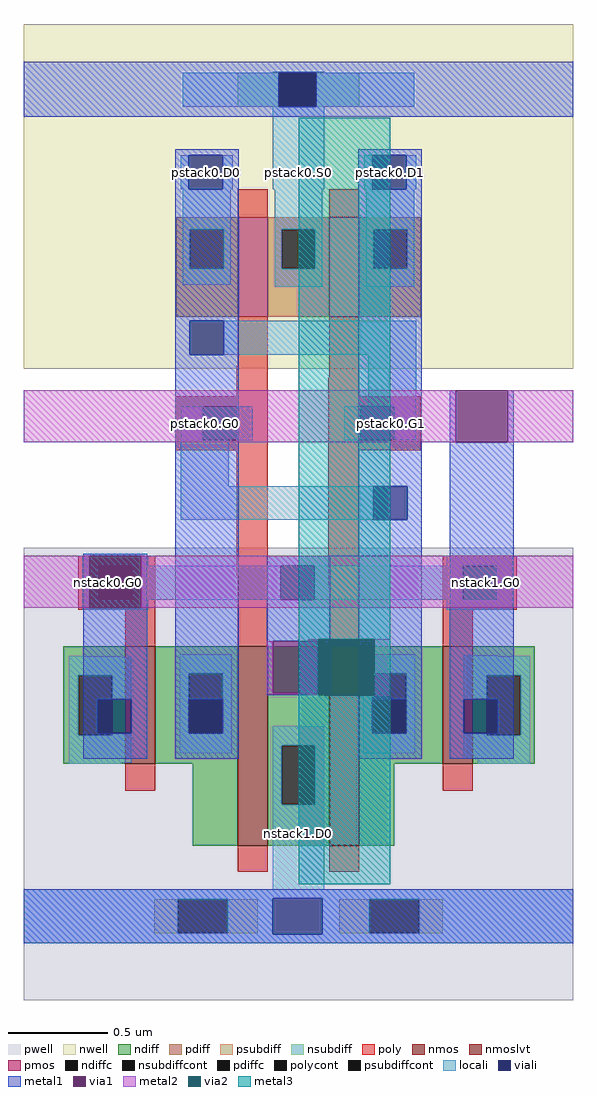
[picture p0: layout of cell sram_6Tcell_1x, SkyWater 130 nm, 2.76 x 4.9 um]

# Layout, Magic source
magic
tech sky130A
magscale 1 2
<< nwell >>
rect 0 550 552 896
<< pwell >>
rect 0 -84 552 370
<< nmos >>
rect 102 153 132 271
<< pmos >>
rect 215 602 245 702
rect 307 602 337 702
<< nmoslvt >>
rect 215 71 245 271
rect 307 71 337 271
rect 421 153 451 271
<< ndiff >>
rect 40 242 102 271
rect 40 182 55 242
rect 89 182 102 242
rect 40 153 102 182
rect 132 244 215 271
rect 132 184 166 244
rect 200 184 215 244
rect 132 153 215 184
rect 170 71 215 153
rect 245 172 307 271
rect 245 112 259 172
rect 293 112 307 172
rect 245 71 307 112
rect 337 244 421 271
rect 337 184 350 244
rect 384 184 421 244
rect 337 153 421 184
rect 451 242 513 271
rect 451 182 465 242
rect 499 182 513 242
rect 451 153 513 182
rect 337 71 372 153
<< pdiff >>
rect 153 690 215 702
rect 153 650 167 690
rect 201 650 215 690
rect 153 602 215 650
rect 245 690 307 702
rect 245 650 259 690
rect 293 650 307 690
rect 245 602 307 650
rect 337 690 399 702
rect 337 650 351 690
rect 385 650 399 690
rect 337 602 399 650
<< ndiffc >>
rect 55 182 89 242
rect 166 184 200 244
rect 259 112 293 172
rect 350 184 384 244
rect 465 182 499 242
<< pdiffc >>
rect 167 650 201 690
rect 259 650 293 690
rect 351 650 385 690
<< psubdiff >>
rect 131 -17 155 17
rect 205 -17 235 17
rect 317 -17 347 17
rect 397 -17 421 17
<< nsubdiff >>
rect 215 813 256 847
rect 294 813 337 847
<< psubdiffcont >>
rect 155 -17 205 17
rect 347 -17 397 17
<< nsubdiffcont >>
rect 256 813 294 847
<< poly >>
rect 215 702 245 730
rect 307 702 337 730
rect 215 553 245 602
rect 214 522 245 553
rect 307 541 337 602
rect 152 512 245 522
rect 152 478 180 512
rect 214 478 245 512
rect 152 468 245 478
rect 55 352 132 362
rect 55 318 75 352
rect 109 318 132 352
rect 214 342 245 468
rect 55 308 132 318
rect 102 271 132 308
rect 215 271 245 342
rect 306 522 337 541
rect 306 512 399 522
rect 306 478 338 512
rect 372 478 399 512
rect 306 468 399 478
rect 306 330 337 468
rect 307 271 337 330
rect 421 352 495 362
rect 421 318 441 352
rect 475 318 495 352
rect 421 308 495 318
rect 421 271 451 308
rect 102 126 132 153
rect 421 126 451 153
rect 215 45 245 71
rect 307 45 337 71
<< polycont >>
rect 180 478 214 512
rect 75 318 109 352
rect 338 478 372 512
rect 441 318 475 352
<< locali >>
rect 250 847 302 848
rect 160 813 256 847
rect 294 813 392 847
rect 158 730 166 764
rect 200 730 210 764
rect 250 730 302 813
rect 342 730 350 764
rect 384 730 394 764
rect 160 690 208 730
rect 160 650 167 690
rect 201 650 208 690
rect 160 634 208 650
rect 252 690 300 730
rect 252 650 259 690
rect 293 650 300 690
rect 252 632 300 650
rect 344 690 392 730
rect 344 650 351 690
rect 385 650 392 690
rect 344 632 392 650
rect 201 564 394 598
rect 346 512 394 564
rect 158 478 180 512
rect 214 478 230 512
rect 322 478 338 512
rect 372 478 394 512
rect 158 432 206 478
rect 158 398 351 432
rect 59 352 125 362
rect 425 352 491 362
rect 59 318 75 352
rect 109 318 258 352
rect 292 318 441 352
rect 475 318 491 352
rect 59 308 125 318
rect 425 308 491 318
rect 46 260 98 261
rect 46 242 108 260
rect 46 182 55 242
rect 89 218 108 242
rect 89 182 108 184
rect 46 154 108 182
rect 157 244 209 263
rect 157 184 166 244
rect 200 184 209 244
rect 341 244 393 263
rect 157 164 209 184
rect 250 172 302 191
rect 46 153 98 154
rect 250 112 259 172
rect 293 112 302 172
rect 341 184 350 244
rect 384 184 393 244
rect 341 164 393 184
rect 442 261 476 262
rect 442 242 508 261
rect 442 218 465 242
rect 442 182 465 184
rect 499 182 508 242
rect 442 158 508 182
rect 456 153 508 158
rect 250 27 302 112
rect 0 18 552 27
rect 0 17 250 18
rect 0 -17 155 17
rect 205 -17 250 17
rect 0 -18 250 -17
rect 300 17 552 18
rect 300 -17 347 17
rect 397 -17 552 17
rect 300 -18 552 -17
rect 0 -27 552 -18
<< viali >>
rect 256 813 294 847
rect 166 730 200 764
rect 350 730 384 764
rect 167 564 201 598
rect 351 398 385 432
rect 258 318 292 352
rect 74 184 89 218
rect 89 184 108 218
rect 166 184 200 218
rect 350 184 384 218
rect 442 184 465 218
rect 465 184 476 218
rect 250 -18 300 18
<< metal1 >>
rect 0 847 552 858
rect 0 813 256 847
rect 294 813 552 847
rect 0 803 552 813
rect 152 764 216 770
rect 152 730 166 764
rect 200 730 216 764
rect 152 598 216 730
rect 152 564 167 598
rect 201 564 216 598
rect 60 362 124 364
rect 60 310 66 362
rect 118 310 124 362
rect 60 218 124 310
rect 60 184 74 218
rect 108 184 124 218
rect 60 158 124 184
rect 152 218 216 564
rect 336 764 400 770
rect 336 730 350 764
rect 384 730 400 764
rect 336 432 400 730
rect 336 398 351 432
rect 385 398 400 432
rect 244 352 308 362
rect 244 318 258 352
rect 292 318 308 352
rect 244 276 308 318
rect 244 224 250 276
rect 302 224 308 276
rect 244 222 308 224
rect 152 184 166 218
rect 200 184 216 218
rect 152 158 216 184
rect 336 218 400 398
rect 336 184 350 218
rect 384 184 400 218
rect 336 158 400 184
rect 428 476 434 528
rect 486 476 492 528
rect 428 218 492 476
rect 428 184 442 218
rect 476 184 492 218
rect 428 158 492 184
rect 0 18 552 27
rect 0 -18 250 18
rect 300 -18 552 18
rect 0 -27 552 -18
<< via1 >>
rect 66 310 118 362
rect 250 224 302 276
rect 434 476 486 528
<< metal2 >>
rect 0 476 434 528
rect 486 476 552 528
rect 0 310 66 362
rect 118 310 552 362
rect 286 276 296 278
rect 244 224 250 276
rect 246 223 296 224
rect 286 222 296 223
rect 352 222 368 278
<< via2 >>
rect 296 276 352 278
rect 296 224 302 276
rect 302 224 352 276
rect 296 222 352 224
<< metal3 >>
rect 276 278 368 802
rect 276 222 296 278
rect 352 222 368 278
rect 276 32 368 222
<< labels >>
flabel locali 346 478 392 512 0 FreeSans 136 0 0 0 pstack0.G1
flabel locali 160 478 206 512 0 FreeSans 136 0 0 0 pstack0.G0
flabel locali 342 730 394 764 0 FreeSans 136 0 0 0 pstack0.D1
flabel locali 158 730 210 764 0 FreeSans 136 0 0 0 pstack0.D0
flabel locali 250 730 302 764 0 FreeSans 136 0 0 0 pstack0.S0
flabel locali 250 66 302 100 0 FreeSans 160 0 0 0 nstack1.D0
flabel locali 250 66 302 100 0 FreeSans 160 0 0 0 nstack0.D0
flabel locali 439 308 491 362 0 FreeSans 136 0 0 0 nstack1.G0
flabel locali 59 308 111 362 0 FreeSans 136 0 0 0 nstack0.G0
<< end >>
